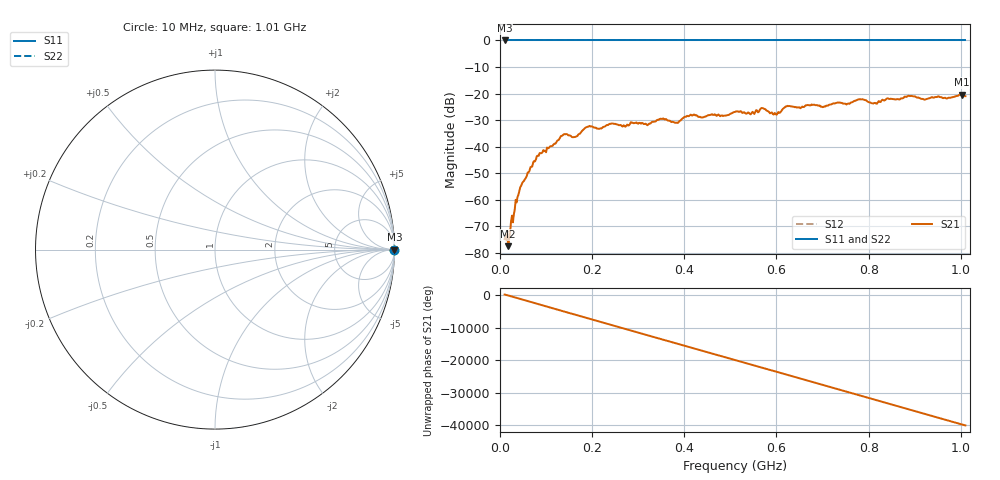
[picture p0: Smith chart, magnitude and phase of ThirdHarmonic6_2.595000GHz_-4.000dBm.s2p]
! 8/17/2025 5:34:50 AM
! C:\ANRITSUVNA\TEMP\TEMP.S2P
! CHANNEL.1
! TR.MEASUREMENT
! RAW.DATA
! RF.CORRECTION.OFF
! AVERAGING.OFF
! IF.BANDWIDTH: 5KHZ
! SWEEPTYPE:  FREQ.SWEEP(Linear)
! Reference Plane Port Info
! PORT:  PORT1  PORT2
! DISTANCE:  0  m  0  m
! TIME:  0  s  0  s
! PHASE.OFFSET:  0  deg.  0  deg.
! LOSS:  0  dB  0  dB
! REF.LOSS:  0  dB  0  dB
! REF.FREQ:  0  Hz  0  Hz
! Power Info
! POWER:  -20  dBm  -20  dBm
! EFF.POWER:  -20  dBm  -20  dBm
! SOURCE.ATTEN:  0  dB  0  dB
! TEST.ATTEN:  0  dB  0  dB
# GHZ S RI R 50.0
! FREQ.GHZ  S11RE  S11IM  S21RE  S21IM  S12RE  S12IM  S22RE  S22IM
!; PortSelection: Port_12
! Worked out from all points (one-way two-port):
!   501 points, 10 MHz to 1.01 GHz, reference 50 ohm
!   highest |S21| = -20.35 dB at 1.002 GHz (marker M1); lowest = -77.4 dB at 18 MHz (marker M2)
!   lowest |S11| = 0.0 dB at 10 MHz (marker M3)
!   |S11| at or under -10 dB: nowhere
!   |S22| runs from 0.0 to 0.0 dB; largest |S21 - S12| = 1.1
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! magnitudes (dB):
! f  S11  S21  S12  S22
! 10 MHz  0.0  -74.8  0.0  0.0
! 18 MHz  0.0  -77.4  0.0  0.0
! 38 MHz  0.0  -58.9  0.0  0.0
! 46 MHz  0.0  -54.7  0.0  0.0
! 82 MHz  0.0  -43.4  0.0  0.0
! 136 MHz  0.0  -35.7  0.0  0.0
! 162 MHz  0.0  -36.4  0.0  0.0
! 178 MHz  0.0  -34.1  0.0  0.0
! 192 MHz  0.0  -32.5  0.0  0.0
! 322 MHz  0.0  -31.6  0.0  0.0
! 344 MHz  0.0  -29.9  0.0  0.0
! 384 MHz  0.0  -30.9  0.0  0.0
! 416 MHz  0.0  -28.2  0.0  0.0
! 510 MHz  0.0  -26.9  0.0  0.0
! 570 MHz  0.0  -25.5  0.0  0.0
! 596 MHz  0.0  -27.3  0.0  0.0
! 624 MHz  0.0  -24.6  0.0  0.0
! 678 MHz  0.0  -24.2  0.0  0.0
! 814 MHz  0.0  -23.5  0.0  0.0
! 844 MHz  0.0  -22.0  0.0  0.0
! 1.002 GHz  0.0  -20.4  0.0  0.0
! 1.01 GHz  0.0  -21.0  0.0  0.0
